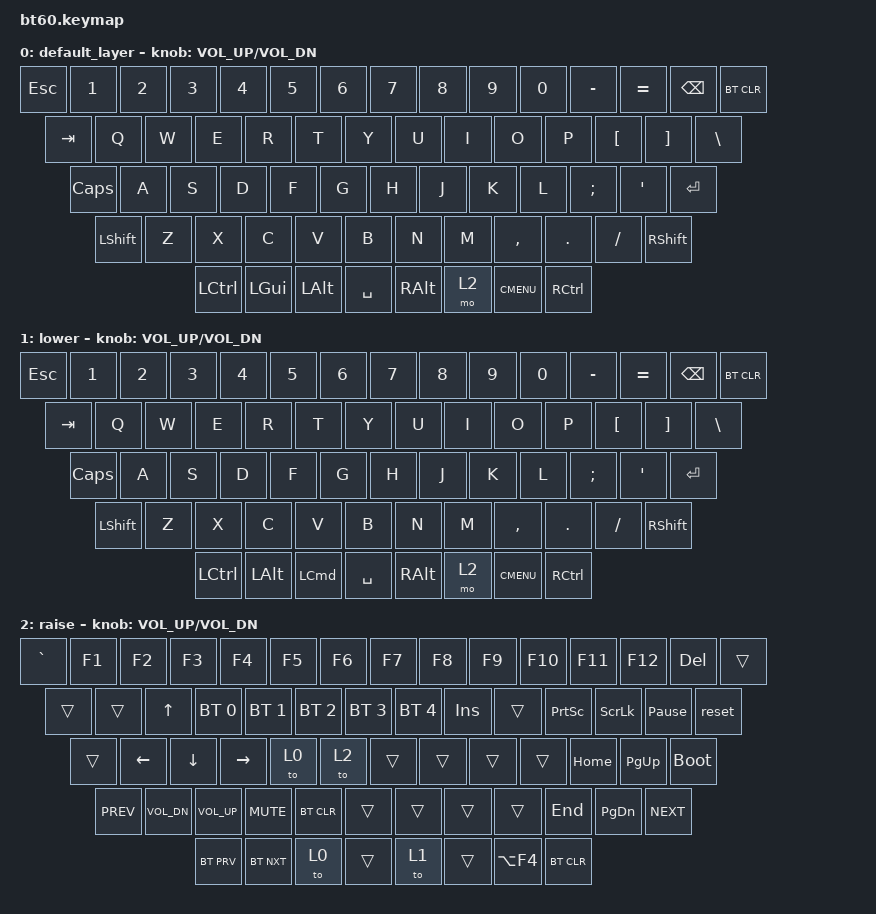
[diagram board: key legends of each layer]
#include <behaviors.dtsi>
#include <dt-bindings/zmk/keys.h>
#include <dt-bindings/zmk/bt.h>
#define DEFAULT 0
#define LOWER 1
#define RAISE 2

/ {
	keymap {
		compatible = "zmk,keymap";

		default_layer {
				// ------------------------------------------------------------------------------------------
				// | ESC |  1  |  2  |  3  |  4  |  5  |  6  |  7  |  8  |  9  |  0  |  -  |  =  |   BKSP   | DEL
				// | TAB  |  Q  |  W  |  E  |  R  |  T  |  Y  |  U  |  I  |  O  |  P  |  [  |  ]  |   |    |
				// | CAPS  |  A  |  S  |  D  |  F  |  G  |  H  |  J  |  K  |  L  |  ;  |  '  |     ENTER    |
				// |  SHIFT    |  Z  |  X  |  C  |  V  |  B  |  N  |  M  |  ,  |  .  | /   |      SHIFT     |
				// |  CTL  |  WIN  |  ALT  |            SPACE               | ALT | 1    |  MENU    |  CTRL    |
				// ------------------------------------------------------------------------------------------
			bindings = <
				&kp ESC &kp N1 &kp N2 &kp N3 &kp N4 &kp N5 &kp N6 &kp N7 &kp  N8   &kp  N9 &kp  N0  &kp MINUS &kp EQUAL &kp BSPC &bt BT_CLR
				&kp TAB  &kp Q  &kp W  &kp E  &kp R  &kp T  &kp Y  &kp U  &kp  I    &kp  O  &kp  P   &kp LBKT &kp RBKT  &kp BSLH
				&kp CLCK  &kp A  &kp S  &kp D  &kp F  &kp G  &kp H  &kp J  &kp  K    &kp  L  &kp SEMI &kp SQT           &kp RET
				&kp LSHFT  &kp Z  &kp X  &kp C  &kp V  &kp B  &kp N  &kp M  &kp COMMA &kp DOT &kp FSLH             &kp RSHFT
				&kp LCTRL &kp LGUI &kp LALT            &kp SPACE                          &kp RALT  &mo 2 &kp K_CMENU &kp RCTRL
			>;
			sensor-bindings = <&inc_dec_kp C_VOL_UP C_VOL_DN>;
		};
		lower {
			bindings = <
				&kp ESC &kp N1 &kp N2 &kp N3 &kp N4 &kp N5 &kp N6 &kp N7 &kp  N8   &kp  N9 &kp  N0  &kp MINUS &kp EQUAL &kp BSPC &bt BT_CLR
				&kp TAB  &kp Q  &kp W  &kp E  &kp R  &kp T  &kp Y  &kp U  &kp  I    &kp  O  &kp  P   &kp LBKT &kp RBKT  &kp BSLH
				&kp CLCK  &kp A  &kp S  &kp D  &kp F  &kp G  &kp H  &kp J  &kp  K    &kp  L  &kp SEMI &kp SQT           &kp RET
				&kp LSHFT  &kp Z  &kp X  &kp C  &kp V  &kp B  &kp N  &kp M  &kp COMMA &kp DOT &kp FSLH             &kp RSHFT
				&kp LCTRL &kp LALT &kp LCMD            &kp SPACE                          &kp RALT  &mo 2 &kp K_CMENU &kp RCTRL
			>;
			sensor-bindings = <&inc_dec_kp C_VOL_UP C_VOL_DN>;
		};
		raise {
			bindings = <
				&kp GRAVE &kp F1 &kp F2 &kp F3 &kp F4 &kp F5 &kp F6 &kp F7 &kp  F8   &kp  F9 &kp  F10  &kp F11 &kp F12   &kp DEL &trans
				&trans &trans &kp UP &bt BT_SEL 0 &bt BT_SEL 1 &bt BT_SEL 2 &bt BT_SEL 3 &bt BT_SEL 4 &kp INS &trans &kp PSCRN &kp SLCK &kp PAUSE_BREAK &reset
				&trans    &kp LEFT &kp DOWN &kp RIGHT &to 0 &to 2 &trans &trans &trans &trans &kp HOME  &kp PG_UP   &bootloader
				&kp C_PREV &kp C_VOL_DN &kp C_VOL_UP &kp C_MUTE &bt BT_CLR &trans &trans &trans &trans &kp END &kp PG_DN  &kp C_NEXT
				&bt BT_PRV &bt BT_NXT  &to 0              &trans                            &to 1   &trans   &kp LA(F4) &bt BT_CLR
			>;
			sensor-bindings = <&inc_dec_kp C_VOL_UP C_VOL_DN>;
		};
	};
};
